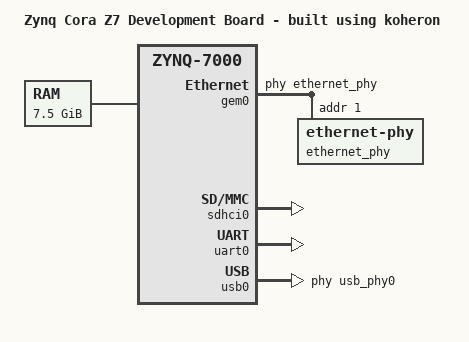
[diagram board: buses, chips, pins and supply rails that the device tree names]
// SPDX-License-Identifier: GPL-2.0
/*
 * Copyright (C) 2011 - 2014 Xilinx
 * Copyright (C) 2016 Jagan Teki <jteki@openedev.com>
 */
/dts-v1/;
/include/ "zynq-7000.dtsi"

/ {
  model = "Zynq Cora Z7 Development Board - built using koheron";
  compatible = "digilent,zynq-coraz7", "xlnx,zynq-7000";

  chosen {
		bootargs = "console=ttyPS0,115200 earlyprintk root=/dev/mmcblk0p2 rw rootwait";
	};

	aliases {
		ethernet0 = &gem0;
		serial0 = &uart1;
	};

	memory@0 {
		device_type = "memory";
		reg = <0x0 0x1E0000000>;
	};

	usb_phy0: phy0@e0002000 {
		compatible = "ulpi-phy";
		#phy-cells = <0>;
		reg = <0xe0002000 0x1000>;
		view-port = <0x0170>;
		drv-vbus;
	};
};

&gem0 {
	phy-handle = <&ethernet_phy>;
/*	phy-reset-gpio = <&gpio0 GPIO_ACTIVE_LOW>;
	phy-reset-active-low;
	phy-reset-duration = <10>;  */
	ethernet_phy: ethernet-phy@1 { /* rtl8211e-vl */
		reg = <1>;
		device_type = "ethernet-phy";
	};
};

&sdhci0 {
	status = "okay";
};
&uart0 {
	status = "okay";
};


&usb0 {
	status = "okay";
	usb-phy = <&usb_phy0>;
};

